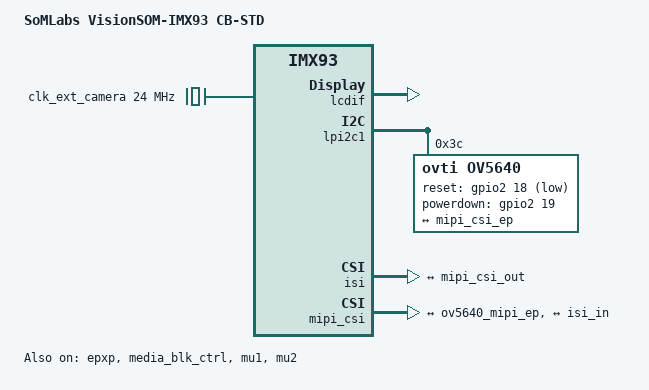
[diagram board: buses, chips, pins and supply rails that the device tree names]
// SPDX-License-Identifier: (GPL-2.0+ OR MIT)
/*
 * Copyright 2024 SomLabs
 *
 */

/dts-v1/;

#include "visionsom-imx93.dtsi"

#include "visionsom-imx9x-cb-std.dtsi"

/ {
	model = "SoMLabs VisionSOM-IMX93 CB-STD";

	sound {
		simple-audio-card,codec {
			clocks = <&clk IMX93_CLK_SAI1>;
		};
	};

	clk_ext_camera: clk_ext_camera {
		compatible = "fixed-clock";
		#clock-cells = <0>;
		clock-frequency = <24000000>;
	};
};

&epxp {
        status = "okay";
};

&media_blk_ctrl {
        status = "okay";
};

&mu1 {
        status = "okay";
};

&mu2 {
        status = "okay";
};

&lcdif {
        status = "okay";
};

&lpi2c1 {

	ov5640: camera@3c {
		compatible = "ovti,ov5640";
		reg = <0x3c>;
		clock-names = "xclk";
		clocks = <&clk_ext_camera>;
		pinctrl-names = "default";
		pinctrl-0 = <&pinctrl_camera>;
		reset-gpios = <&gpio2 18 GPIO_ACTIVE_LOW>;	// MX93_PAD_GPIO_IO18__GPIO2_IO18
		powerdown-gpios = <&gpio2 19 GPIO_ACTIVE_HIGH>;	// MX93_PAD_GPIO_IO19__GPIO2_IO19

		status = "okay";

		port {
			ov5640_mipi_ep: endpoint {
				clock-lanes = <0>;
				data-lanes = <1 2>;
				remote-endpoint = <&mipi_csi_ep>;
			};
		};
	};
};


&isi {
	status = "okay";

	port {
		isi_in: endpoint {
			remote-endpoint = <&mipi_csi_out>;
		};
	};
};

&mipi_csi {
	status = "okay";

	ports {
		#address-cells = <1>;
		#size-cells = <0>;

		port@0{
			mipi_csi_ep: endpoint {
				remote-endpoint = <&ov5640_mipi_ep>;
				cfg-clk-range = <28>;
				hs-clk-range = <0x7>;
				data-lanes = <1 2>;
			};
		};

		port@1 {
			reg = <1>;

			mipi_csi_out: endpoint {
				remote-endpoint = <&isi_in>;
			};
		};
	};
};

&iomuxc {
	pinctrl_usb_otg1: usbotg1grp {
		fsl,pins = <
			MX93_PAD_GPIO_IO22__GPIO2_IO22			0x31e	/* USB1 VBUS EN */
			MX93_PAD_SD2_RESET_B__GPIO3_IO07		0x31e	/* USB1 VBUS OC */
		>;
	};

	pinctrl_usb_otg2: usbotg2grp {
		fsl,pins = <
			MX93_PAD_GPIO_IO23__GPIO2_IO23			0x31e	/* USB2 VBUS EN */
			MX93_PAD_SD2_CD_B__GPIO3_IO00			0x31e	/* USB2 VBUS OC */
		>;
	};

	pinctrl_camera: cameragrp {
		fsl,pins = <
			MX93_PAD_GPIO_IO19__GPIO2_IO19			0x31e	/* PW EN */
			MX93_PAD_GPIO_IO18__GPIO2_IO18			0x31e	/* RESET */
		>;
	};

	pinctrl_gpioexp: gpioexp {
		fsl,pins = <
			MX93_PAD_GPIO_IO27__GPIO2_IO27			0x31e	/* GPIO2_IO27 interrupt */
		>;
	};
};
